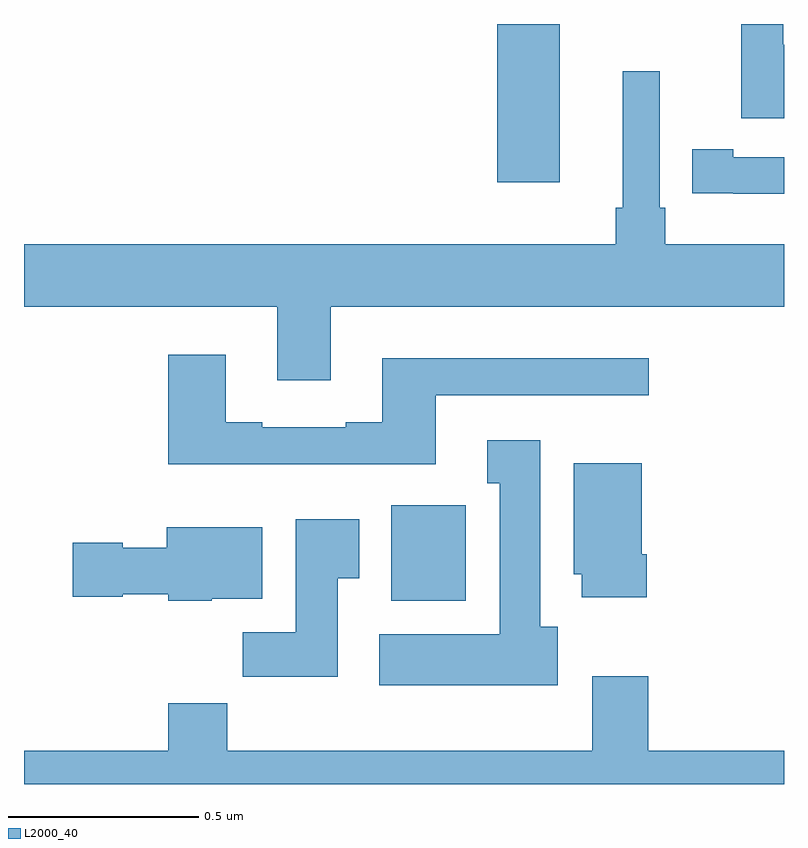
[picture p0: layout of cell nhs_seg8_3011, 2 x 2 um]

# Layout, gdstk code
import gdstk
lib = gdstk.Library(unit=1e-6, precision=1e-09)
def R(c, l, rs):  # rectangles x0, y0, x1, y1
    for r in rs: c.add(gdstk.rectangle(r[:2], r[2:], *l))
def P(c, l, *ps):  # polygons
    for p in ps: c.add(gdstk.Polygon(p, *l))
L2000_40 = (2000, 40)

nhs_seg8_3011 = lib.new_cell('nhs_seg8_3011')
R(nhs_seg8_3011, L2000_40, [(151.967,1126.382,152.163,1126.633), (152.246,1127.484,152.41,1127.9)])
P(nhs_seg8_3011, L2000_40, [(153,1127.846),(152.998,1127.846),(152.998,1127.9),(152.888,1127.9),(152.888,1127.652),(153,1127.652)],
  [(151.807,1127.156),(153,1127.156),(153,1127.32),(152.687,1127.32),(152.687,1127.416),(152.673,1127.416),(152.673,1127.776),(152.576,1127.776),(152.576,1127.416),(152.557,1127.416),(152.557,1127.32),(151,1127.32),(151,1127.156),(151.667,1127.156),(151.667,1126.962),(151.807,1126.962)],
  [(153,1127.55),(152.866,1127.55),(152.866,1127.57),(152.758,1127.57),(152.758,1127.454),(152.866,1127.454),(152.866,1127.453),(153,1127.453)],
  [(152.083,1126.923),(152.644,1126.923),(152.644,1127.02),(151.943,1127.02),(151.943,1126.852),(151.847,1126.852),(151.847,1126.839),(151.627,1126.839),(151.627,1126.852),(151.531,1126.852),(151.531,1127.029),(151.379,1127.029),(151.379,1126.742),(152.083,1126.742)],
  [(152.404,1126.314),(152.359,1126.314),(152.359,1126.804),(152.219,1126.804),(152.219,1126.691),(152.252,1126.691),(152.252,1126.294),(151.935,1126.294),(151.935,1126.16),(152.404,1126.16)],
  [(152.639,1126.504),(152.626,1126.504),(152.626,1126.744),(152.447,1126.744),(152.447,1126.452),(152.468,1126.452),(152.468,1126.392),(152.639,1126.392)],
  [(151.825,1126.441),(151.882,1126.441),(151.882,1126.597),(151.715,1126.597),(151.715,1126.3),(151.576,1126.3),(151.576,1126.182),(151.825,1126.182)],
  [(151.494,1126.388),(151.627,1126.388),(151.627,1126.576),(151.376,1126.576),(151.376,1126.522),(151.26,1126.522),(151.26,1126.535),(151.128,1126.535),(151.128,1126.393),(151.26,1126.393),(151.26,1126.4),(151.38,1126.4),(151.38,1126.382),(151.494,1126.382)],
  [(153,1125.988),(152.643,1125.988),(152.643,1126.183),(152.495,1126.183),(152.495,1125.988),(151.535,1125.988),(151.535,1126.112),(151.379,1126.112),(151.379,1125.988),(151,1125.988),(151,1125.9),(153,1125.9)])

lib.write_gds('nhs_seg8_3011.gds')
